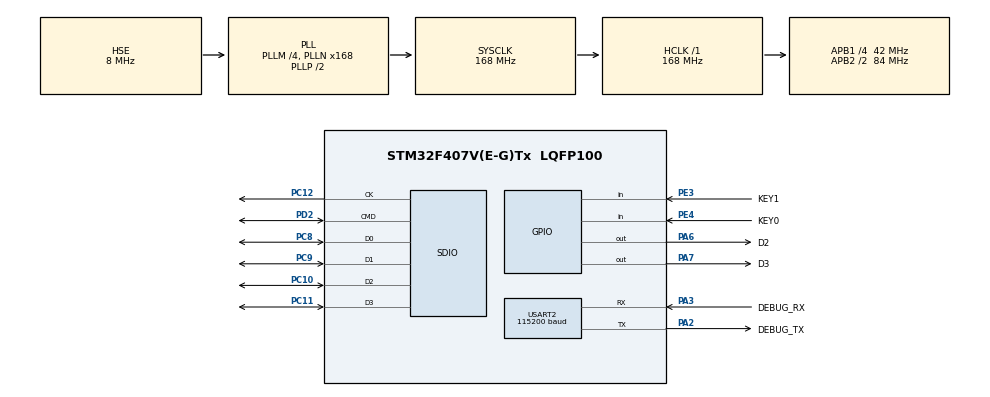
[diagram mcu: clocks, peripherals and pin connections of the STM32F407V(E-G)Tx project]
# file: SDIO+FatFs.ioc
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FATFS.USE_DMA_CODE_SD=0
FATFS._CODE_PAGE=936
FATFS._FS_NORTC=0
FATFS._USE_LFN=2
Mcu.Family=STM32F4
Mcu.Name=STM32F407V(E-G)Tx
Mcu.Package=LQFP100
NVIC.PriorityGroup=NVIC_PRIORITYGROUP_4
PA13.Mode=Serial_Wire
PA13.Signal=SYS_JTMS-SWDIO
PA14.Mode=Serial_Wire
PA14.Signal=SYS_JTCK-SWCLK
PA2.GPIO_Label=DEBUG_TX
PA2.Mode=Asynchronous
PA2.Signal=USART2_TX
PA3.GPIO_Label=DEBUG_RX
PA3.Mode=Asynchronous
PA3.Signal=USART2_RX
PA6.GPIO_Label=D2
PA6.GPIO_Speed=GPIO_SPEED_FREQ_VERY_HIGH
PA6.Signal=GPIO_Output
PA7.GPIO_Label=D3
PA7.GPIO_Speed=GPIO_SPEED_FREQ_VERY_HIGH
PA7.Signal=GPIO_Output
PC10.Mode=SD_4_bits_Wide_bus
PC10.Signal=SDIO_D2
PC11.Mode=SD_4_bits_Wide_bus
PC11.Signal=SDIO_D3
PC12.Mode=SD_4_bits_Wide_bus
PC12.Signal=SDIO_CK
PC14-OSC32_IN.Mode=LSE-External-Oscillator
PC14-OSC32_IN.Signal=RCC_OSC32_IN
PC15-OSC32_OUT.Mode=LSE-External-Oscillator
PC15-OSC32_OUT.Signal=RCC_OSC32_OUT
PC8.Mode=SD_4_bits_Wide_bus
PC8.Signal=SDIO_D0
PC9.Mode=SD_4_bits_Wide_bus
PC9.Signal=SDIO_D1
PD2.Mode=SD_4_bits_Wide_bus
PD2.Signal=SDIO_CMD
PE3.GPIO_Label=KEY1
PE3.Signal=GPIO_Input
PE4.GPIO_Label=KEY0
PE4.Signal=GPIO_Input
PH0-OSC_IN.Mode=HSE-External-Oscillator
PH0-OSC_IN.Signal=RCC_OSC_IN
PH1-OSC_OUT.Mode=HSE-External-Oscillator
PH1-OSC_OUT.Signal=RCC_OSC_OUT
ProjectManager.HeapSize=0x800
ProjectManager.StackSize=0x1000
ProjectManager.TargetToolchain=MDK-ARM V5
RCC.48MHZClocksFreq_Value=48000000
RCC.AHBFreq_Value=168000000
RCC.APB1CLKDivider=RCC_HCLK_DIV4
RCC.APB1Freq_Value=42000000
RCC.APB1TimFreq_Value=84000000
RCC.APB2CLKDivider=RCC_HCLK_DIV2
RCC.APB2Freq_Value=84000000
RCC.APB2TimFreq_Value=168000000
RCC.CortexFreq_Value=168000000
RCC.EnbaleCSS=true
RCC.HCLKFreq_Value=168000000
RCC.HSE_VALUE=8000000
RCC.HSI_VALUE=16000000
RCC.PLLM=4
RCC.PLLN=168
RCC.PLLQ=7
RCC.PLLSourceVirtual=RCC_PLLSOURCE_HSE
RCC.SYSCLKFreq_VALUE=168000000
RCC.SYSCLKSource=RCC_SYSCLKSOURCE_PLLCLK
RCC.VCOOutputFreq_Value=336000000
SDIO.ClockBypass=SDIO_CLOCK_BYPASS_DISABLE
SDIO.ClockDiv=0
USART2.BaudRate=115200
USART2.VirtualMode=VM_ASYNC
VP_FATFS_VS_SDIO.Mode=SDIO
board=SDIO+FatFs

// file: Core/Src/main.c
/* USER CODE BEGIN Header */
/**
  ******************************************************************************
  * @file           : main.c
  * @brief          : Main program body
  ******************************************************************************
  * This notice applies to any and all portions of this file
  * that are not between comment pairs USER CODE BEGIN and
  * USER CODE END. Other portions of this file, whether
  * inserted by the user or by software development tools
  * are owned by their respective copyright owners.
  *
  * Copyright (c) 2019 STMicroelectronics International N.V.
  * All rights reserved.
  *
  * Redistribution and use in source and binary forms, with or without
  * modification, are permitted, provided that the following conditions are met:
  *
  * 1. Redistribution of source code must retain the above copyright notice,
  *    this list of conditions and the following disclaimer.
  * 2. Redistributions in binary form must reproduce the above copyright notice,
  *    this list of conditions and the following disclaimer in the documentation
  *    and/or other materials provided with the distribution.
  * 3. Neither the name of STMicroelectronics nor the names of other
  *    contributors to this software may be used to endorse or promote products
  *    derived from this software without specific written permission.
  * 4. This software, including modifications and/or derivative works of this
  *    software, must execute solely and exclusively on microcontroller or
  *    microprocessor devices manufactured by or for STMicroelectronics.
  * 5. Redistribution and use of this software other than as permitted under
  *    this license is void and will automatically terminate your rights under
  *    this license.
  *
  * THIS SOFTWARE IS PROVIDED BY STMICROELECTRONICS AND CONTRIBUTORS "AS IS"
  * AND ANY EXPRESS, IMPLIED OR STATUTORY WARRANTIES, INCLUDING, BUT NOT
  * LIMITED TO, THE IMPLIED WARRANTIES OF MERCHANTABILITY, FITNESS FOR A
  * PARTICULAR PURPOSE AND NON-INFRINGEMENT OF THIRD PARTY INTELLECTUAL PROPERTY
  * RIGHTS ARE DISCLAIMED TO THE FULLEST EXTENT PERMITTED BY LAW. IN NO EVENT
  * SHALL STMICROELECTRONICS OR CONTRIBUTORS BE LIABLE FOR ANY DIRECT, INDIRECT,
  * INCIDENTAL, SPECIAL, EXEMPLARY, OR CONSEQUENTIAL DAMAGES (INCLUDING, BUT NOT
  * LIMITED TO, PROCUREMENT OF SUBSTITUTE GOODS OR SERVICES; LOSS OF USE, DATA,
  * OR PROFITS; OR BUSINESS INTERRUPTION) HOWEVER CAUSED AND ON ANY THEORY OF
  * LIABILITY, WHETHER IN CONTRACT, STRICT LIABILITY, OR TORT (INCLUDING
  * NEGLIGENCE OR OTHERWISE) ARISING IN ANY WAY OUT OF THE USE OF THIS SOFTWARE,
  * EVEN IF ADVISED OF THE POSSIBILITY OF SUCH DAMAGE.
  *
  ******************************************************************************
  */
/* USER CODE END Header */

#include "main.h"
#include "fatfs.h"
#include "sdio.h"
#include "usart.h"
#include "gpio.h"

void SystemClock_Config(void);

int main(void)
{
  /* USER CODE BEGIN 1 */
  FRESULT res;                                          /* FatFs function common result code */
  uint32_t byteswritten, bytesread;                     /* File write/read counts */
  uint8_t wtext[] = "This is STM32 working with FatFs"; /* File write buffer */
  uint8_t rtext[100];                                   /* File read buffer */

  /* USER CODE END 1 */

  /* MCU Configuration--------------------------------------------------------*/

  /* Reset of all peripherals, Initializes the Flash interface and the Systick. */
  HAL_Init();

  /* Configure the system clock */
  SystemClock_Config();

  /* Initialize all configured peripherals */
  MX_GPIO_Init();
  MX_SDIO_SD_Init();
  MX_USART2_UART_Init();
  MX_FATFS_Init();
  /* USER CODE BEGIN 2 */
   if(f_mount(&SDFatFS, (TCHAR const*)SDPath, 0) != FR_OK)
    {
      /* FatFs Initialization Error */
      Error_Handler();
    }
    else
    {
        /*##-4- Create and Open a new text file object with write access #####*/
        if(f_open(&SDFile, "STM32.TXT", FA_CREATE_ALWAYS | FA_WRITE) != FR_OK)
        {
          /* 'STM32.TXT' file Open for write Error */
          Error_Handler();
        }
        else
        {
          /*##-5- Write data to the text file ################################*/
          res = f_write(&SDFile, wtext, sizeof(wtext), (void *)&byteswritten);

          if((byteswritten == 0) || (res != FR_OK))
          {
            /* 'STM32.TXT' file Write or EOF Error */
            Error_Handler();
          }
          else
          {
            /*##-6- Close the open text file #################################*/
            f_close(&SDFile);

            /*##-7- Open the text file object with read access ###############*/
            if(f_open(&SDFile, "STM32.TXT", FA_READ) != FR_OK)
            {
              /* 'STM32.TXT' file Open for read Error */
              Error_Handler();
            }
            else
            {
              /*##-8- Read data from the text file ###########################*/
              res = f_read(&SDFile, rtext, sizeof(rtext), (UINT*)&bytesread);

              if((bytesread == 0) || (res != FR_OK)) /* EOF or Error */
              {
                /* 'STM32.TXT' file Read or EOF Error */
                Error_Handler();
              }
              else
              {
                /*##-9- Close the open text file #############################*/
                f_close(&SDFile);

                /*##-10- Compare read data with the expected data ############*/
                if ((bytesread != byteswritten))
                {
                  /* Read data is different from the expected data */
                  Error_Handler();
                }
                else
                {
                  /* Success of the demo: no error occurrence */

                }
              }
            }
          }
        }
    }
  /* USER CODE END 2 */

  /* Infinite loop */
  while (1)
  {

  }
}

void SystemClock_Config(void)
{
  RCC_OscInitTypeDef RCC_OscInitStruct = {0};
  RCC_ClkInitTypeDef RCC_ClkInitStruct = {0};

  /**Configure the main internal regulator output voltage
  */
  __HAL_RCC_PWR_CLK_ENABLE();
  __HAL_PWR_VOLTAGESCALING_CONFIG(PWR_REGULATOR_VOLTAGE_SCALE1);
  /**Initializes the CPU, AHB and APB busses clocks
  */
  RCC_OscInitStruct.OscillatorType = RCC_OSCILLATORTYPE_HSE;
  RCC_OscInitStruct.HSEState = RCC_HSE_ON;
  RCC_OscInitStruct.PLL.PLLState = RCC_PLL_ON;
  RCC_OscInitStruct.PLL.PLLSource = RCC_PLLSOURCE_HSE;
  RCC_OscInitStruct.PLL.PLLM = 4;
  RCC_OscInitStruct.PLL.PLLN = 168;
  RCC_OscInitStruct.PLL.PLLP = RCC_PLLP_DIV2;
  RCC_OscInitStruct.PLL.PLLQ = 7;
  if (HAL_RCC_OscConfig(&RCC_OscInitStruct) != HAL_OK)
  {
    Error_Handler();
  }
  /**Initializes the CPU, AHB and APB busses clocks
  */
  RCC_ClkInitStruct.ClockType = RCC_CLOCKTYPE_HCLK|RCC_CLOCKTYPE_SYSCLK
                              |RCC_CLOCKTYPE_PCLK1|RCC_CLOCKTYPE_PCLK2;
  RCC_ClkInitStruct.SYSCLKSource = RCC_SYSCLKSOURCE_PLLCLK;
  RCC_ClkInitStruct.AHBCLKDivider = RCC_SYSCLK_DIV1;
  RCC_ClkInitStruct.APB1CLKDivider = RCC_HCLK_DIV4;
  RCC_ClkInitStruct.APB2CLKDivider = RCC_HCLK_DIV2;

  if (HAL_RCC_ClockConfig(&RCC_ClkInitStruct, FLASH_LATENCY_5) != HAL_OK)
  {
    Error_Handler();
  }
  /**Enables the Clock Security System
  */
  HAL_RCC_EnableCSS();
}

void Error_Handler(void)
{
}

/************************ (C) COPYRIGHT STMicroelectronics *****END OF FILE****/
